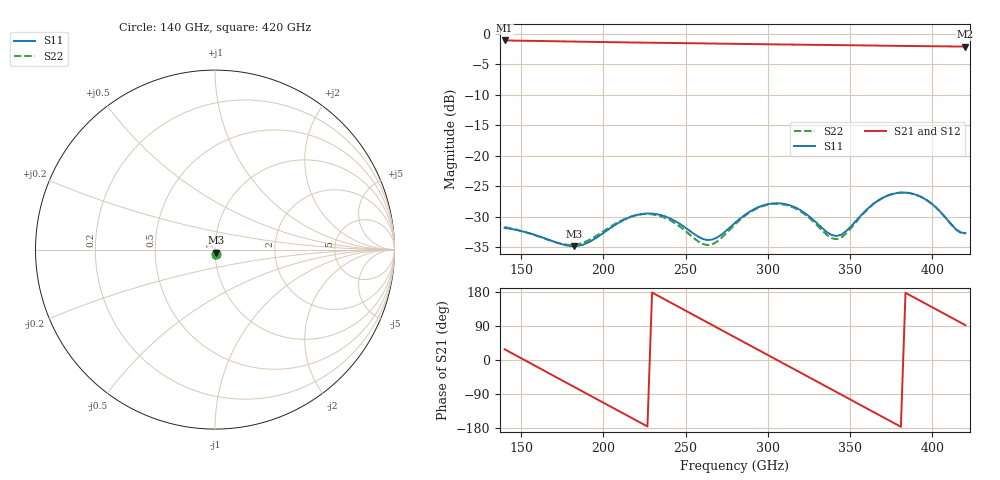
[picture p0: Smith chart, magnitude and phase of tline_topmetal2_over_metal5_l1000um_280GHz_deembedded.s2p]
! Created with skrf 2.2.0 (http://scikit-rf.org).
# GHz S DB R 50.0
! Port[1] = P1
! Port[2] = P2
!freq dBS11 angS11 dBS21 angS21 dBS12 angS12 dBS22 angS22
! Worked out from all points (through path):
!   101 points, 140 GHz to 420 GHz, reference 50 ohm
!   highest |S21| = -1.13 dB at 140 GHz (marker M1); lowest = -2.1 dB at 420 GHz (marker M2)
!   group delay of S21, straight-line fit = 6.51 ps
!   lowest |S11| = -34.8 dB at 182 GHz (marker M3), VSWR 1.04, Z = 50.5 - j1.75 ohm
!   |S11| at or under -10 dB: start of sweep to end of sweep
!   |S22| runs from -34.7 to -26.1 dB; largest |S21 - S12| = 1.5e-13
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140  -31.85 -76.1  -1.13 28.3  -1.13 28.3  -31.73 -78.6
151.2  -32.44 -81.4  -1.18 2.0  -1.18 2.0  -32.43 -83.9
159.6  -33.11 -83.6  -1.21 -17.8  -1.21 -17.8  -33.15 -85.7
182  -34.85 -73.6  -1.31 -70.4  -1.31 -70.4  -34.63 -74.6
187.6  -34.60 -67.6  -1.34 -83.5  -1.34 -83.5  -34.29 -69.3
201.6  -32.38 -59.8  -1.40 -116.4  -1.40 -116.4  -32.12 -63.5
215.6  -30.16 -67.1  -1.46 -149.2  -1.46 -149.2  -30.10 -71.5
235.2  -29.76 -87.1  -1.52 164.9  -1.52 164.9  -29.97 -91.7
257.6  -33.28 -90.3  -1.60 112.4  -1.60 112.4  -34.06 -93.2
268.8  -33.48 -71.9  -1.64 86.1  -1.64 86.1  -34.15 -71.0
280  -31.03 -63.3  -1.69 59.8  -1.69 59.8  -31.28 -62.0
294  -28.47 -71.6  -1.74 27.0  -1.74 27.0  -28.57 -71.4
305.2  -27.81 -84.0  -1.78 0.8  -1.78 0.8  -27.90 -84.4
316.4  -28.47 -96.0  -1.81 -25.4  -1.81 -25.4  -28.61 -97.0
327.6  -30.53 -102.0  -1.85 -51.6  -1.85 -51.6  -30.82 -103.1
341.6  -33.19 -83.1  -1.89 -84.4  -1.89 -84.4  -33.70 -82.2
350  -31.73 -66.3  -1.92 -104.1  -1.92 -104.1  -32.03 -64.0
361.2  -28.56 -64.1  -1.96 -130.3  -1.96 -130.3  -28.64 -62.2
375.2  -26.33 -78.1  -2.00 -163.1  -2.00 -163.1  -26.33 -76.6
394.8  -27.02 -102.3  -2.06 151.0  -2.06 151.0  -27.00 -101.2
408.8  -30.44 -107.2  -2.10 118.2  -2.10 118.2  -30.45 -106.3
420  -32.68 -83.1  -2.14 92.0  -2.14 92.0  -32.75 -81.7
